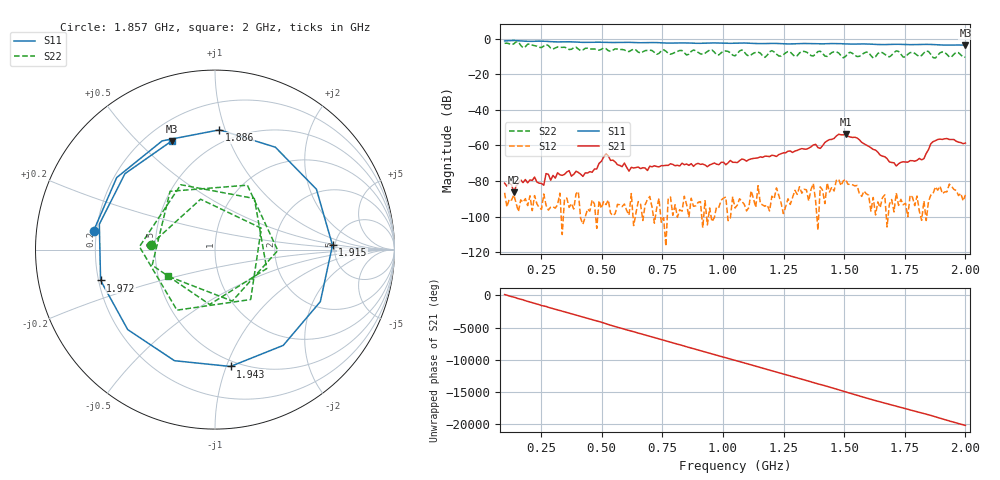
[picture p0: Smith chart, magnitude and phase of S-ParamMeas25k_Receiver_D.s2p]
!Keysight Technologies,N5242B,MY48420967,A.15.65.19
!Date: Saturday, February 04, 2023 02:45:24
!Correction: S11(C  1-Port  )
!S21(Off)
!S12(Off)
!S22(Off)
!S2P File: Measurements: S11, S21, S12, S22:
# Hz S  dB  R 50
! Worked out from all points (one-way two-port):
!   201 points, 100 MHz to 2 GHz, reference 50 ohm
!   highest |S21| = -53.63 dB at 1.506 GHz (marker M1); lowest = -86.3 dB at 138 MHz (marker M2)
!   lowest |S11| = -3.7 dB at 2 GHz (marker M3), VSWR 4.74, Z = 15.1 + j31.7 ohm
!   |S11| at or under -10 dB: nowhere
!   |S22| runs from -10.9 to -1.8 dB; largest |S21 - S12| = 0.0022
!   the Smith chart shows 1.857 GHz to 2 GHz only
!   S11 on the Smith chart (normalised r, x): 1.857 GHz: 0.19, +0.07; 1.886 GHz: 0.40, +0.96; 1.915 GHz: 4.76, +0.41; 1.943 GHz: 0.45, -1.03; 1.972 GHz: 0.21, -0.13; 2 GHz: 0.30, +0.63
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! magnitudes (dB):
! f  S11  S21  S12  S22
! 100 MHz  -1.3  -81.2  -86.6  -2.6
! 138 MHz  -1.1  -86.3  -87.8  -2.9
! 261.5 MHz  -1.5  -82.3  -87.3  -4.2
! 271 MHz  -1.5  -75.8  -93.6  -3.3
! 290 MHz  -1.7  -79.5  -94.7  -5.3
! 366 MHz  -1.8  -74.2  -94.8  -6.1
! 423 MHz  -2.1  -77.4  -104.2  -6.3
! 480 MHz  -2.0  -73.2  -106.6  -6.3
! 518 MHz  -2.1  -64.7  -93.2  -5.7
! 613 MHz  -2.1  -74.4  -99.1  -7.3
! 736.5 MHz  -2.3  -72.0  -89.8  -8.3
! 1.05 GHz  -2.6  -69.5  -95.1  -9.7
! 1.373 GHz  -2.9  -59.7  -81.4  -9.8
! 1.506 GHz  -3.0  -53.6  -79.0  -10.0
! 1.687 GHz  -3.3  -69.2  -93.1  -10.3
! 1.819 GHz  -3.3  -68.1  -102.1  -9.5
! 1.857 GHz  -3.3  -59.0  -87.9  -8.9
! 1.886 GHz  -3.5  -56.7  -85.1  -9.3
! 1.915 GHz  -3.7  -56.3  -86.1  -7.8
! 1.943 GHz  -3.7  -56.6  -83.0  -10.2
! 1.972 GHz  -3.6  -58.2  -88.1  -7.9
! 2 GHz  -3.7  -58.7  -87.8  -10.4
